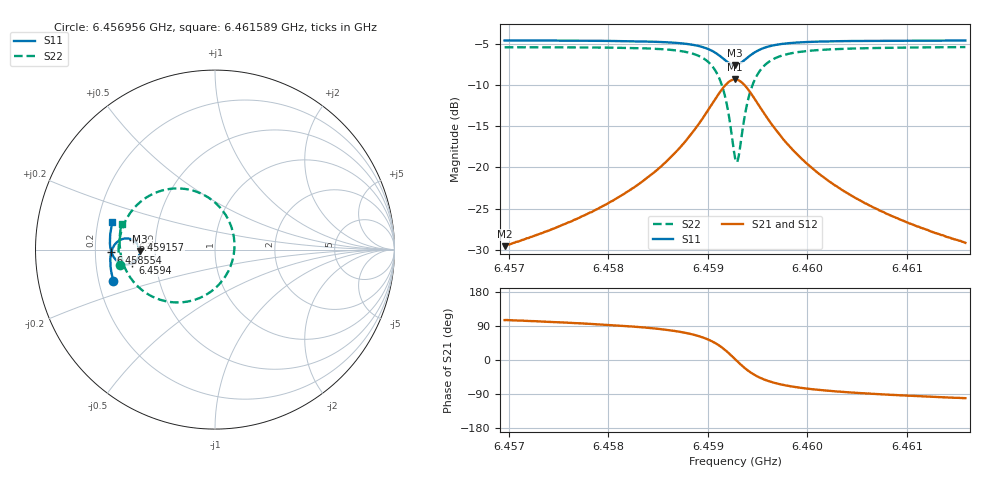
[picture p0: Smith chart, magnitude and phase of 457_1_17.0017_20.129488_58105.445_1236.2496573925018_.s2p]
#  HZ  S  RI  R  50.00
! Rohde & Schwarz Vector Network Analyzer
! Rohde-Schwarz,ZNB20-2Port,1311601062101988,3.16
! Created: UTC 3/20/2024, 11:12:36 PM
! freq[Hz]  re:S11  im:S11  re:S21  im:S21  re:S12  im:S12  re:S22  im:S22
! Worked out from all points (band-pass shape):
!   401 points, 6.456956 GHz to 6.461589 GHz, reference 50 ohm
!   highest |S21| = -9.29 dB at 6.459273 GHz (marker M1); lowest = -29.6 dB at 6.456956 GHz (marker M2)
!   |S21| within 3 dB of the highest: 6.459041 GHz to 6.459504 GHz (463.2 kHz wide, 0.00717 % of centre)
!   lowest |S11| = -7.5 dB at 6.459273 GHz (marker M3), VSWR 2.44, Z = 20.5 - j0.513 ohm
!   |S11| at or under -10 dB: nowhere
!   |S22| runs from -19.3 to -5.4 dB; largest |S21 - S12| = 0.013
!   S11 on the Smith chart (normalised r, x): 6.456956 GHz: 0.26, -0.14; 6.458554 GHz: 0.27, -0.01; 6.459157 GHz: 0.37, +0.05; 6.4594 GHz: 0.37, -0.07; 6.461589 GHz: 0.26, +0.12
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6.456956e9  -0.5662 -0.1736  -0.00879 0.032  -0.00721 0.0321  -0.5314 -0.0867
6.457732e9  -0.5805 -0.1059  -0.00562 0.05  -0.00321 0.0493  -0.5371 0.00353
6.4581722e9  -0.5834 -0.0619  0.000446 0.0702  0.00371 0.0686  -0.5289 0.0732
6.4585081e9  -0.5799 -0.0219  0.0139 0.098  0.0178 0.0953  -0.5043 0.1486
6.4585544e9  -0.5784 -0.0156  0.0171 0.1033  0.0213 0.1005  -0.498 0.1617
6.4587629e9  -0.5663 0.0162  0.043 0.135  0.0473 0.1302  -0.4494 0.233
6.4589135e9  -0.5452 0.0425  0.0855 0.165  0.0888 0.1585  -0.3712 0.297
6.459064e9  -0.4993 0.062  0.1769 0.1839  0.1777 0.1767  -0.2045 0.3409
6.4591567e9  -0.4551 0.0521  0.2662 0.1533  0.2663 0.1474  -0.039 0.2915
6.459203e9  -0.4341 0.0334  0.3094 0.1106  0.3106 0.1056  0.0433 0.2159
6.4592725e9  -0.4193 -0.0103  0.3427 0.0146  0.3462 0.00782  0.1083 0.0375
6.4592841e9  -0.4197 -0.0183  0.3425 -0.00321  0.3464 -0.0106  0.108 0.00402
6.4593073e9  -0.4232 -0.0338  0.3371 -0.0376  0.3409 -0.0465  0.0972 -0.0612
6.4593536e9  -0.4386 -0.0595  0.3088 -0.0972  0.3111 -0.1088  0.0401 -0.1738
6.4593999e9  -0.4605 -0.0757  0.2671 -0.1381  0.2664 -0.1509  -0.0443 -0.2483
6.4594926e9  -0.5036 -0.0826  0.183 -0.1691  0.1769 -0.1804  -0.2117 -0.2944
6.4596432e9  -0.5471 -0.062  0.0957 -0.1552  0.0872 -0.1615  -0.3784 -0.2454
6.4598053e9  -0.5685 -0.0344  0.051 -0.1277  0.0435 -0.1304  -0.4583 -0.1739
6.4600486e9  -0.581 0.00116  0.0222 -0.0964  0.0164 -0.097  -0.5059 -0.0919
6.4603845e9  -0.5855 0.041  0.00658 -0.0705  0.00247 -0.0701  -0.527 -0.0152
6.4608246e9  -0.5836 0.0851  -0.00155 -0.0514  -0.00428 -0.0506  -0.5315 0.0552
6.4615891e9  -0.5711 0.1527  -0.00646 -0.0342  -0.00817 -0.0334  -0.52 0.1448
